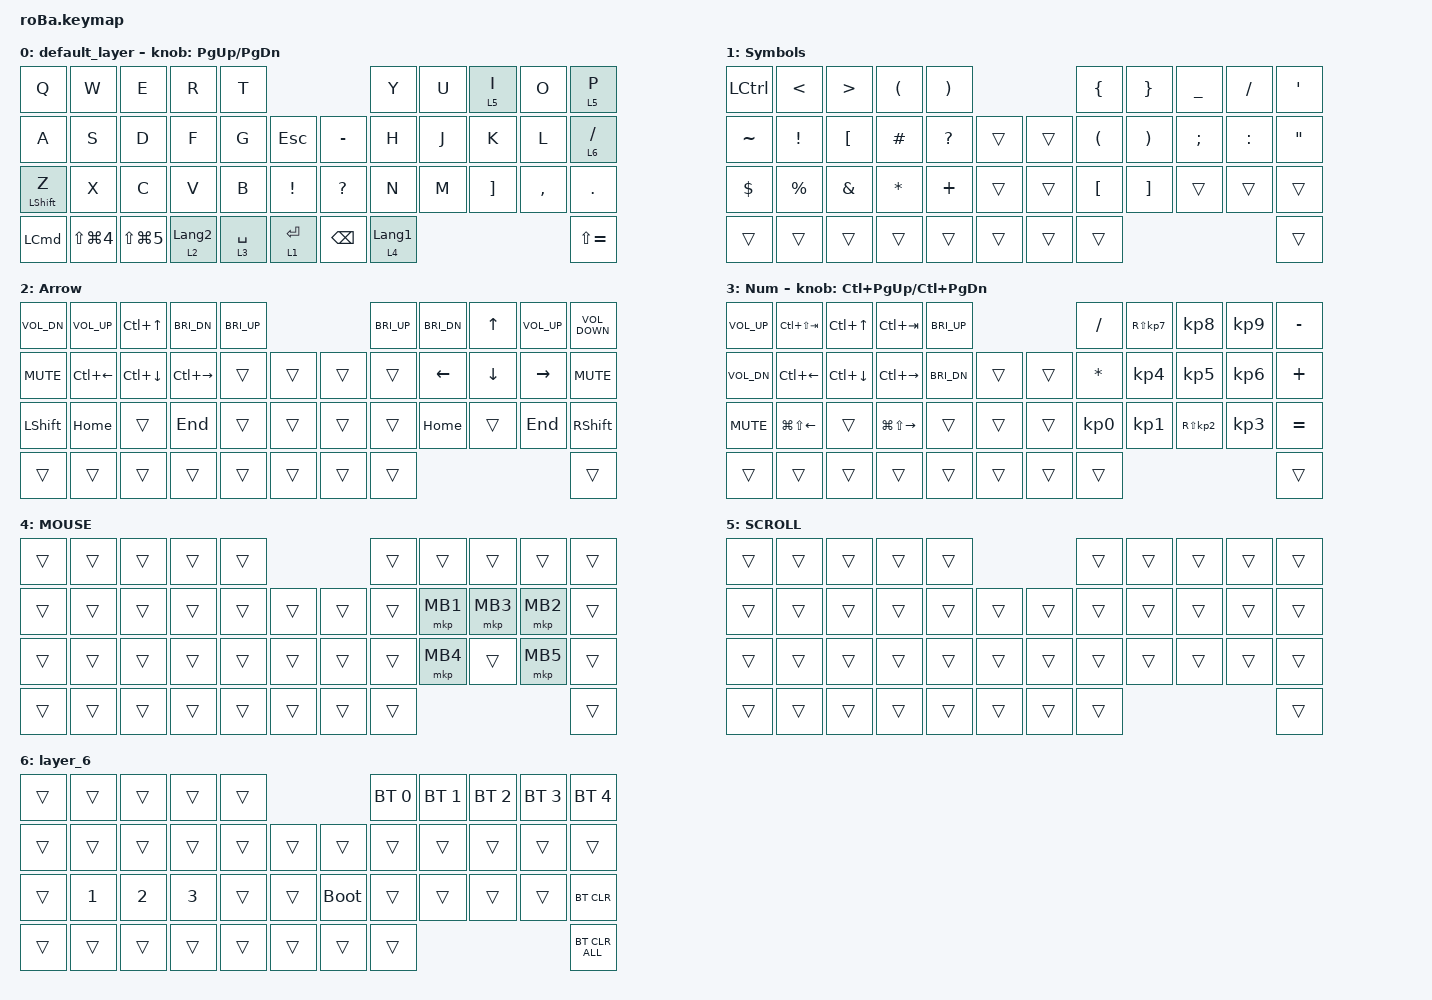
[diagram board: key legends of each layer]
#include <behaviors.dtsi>
#include <dt-bindings/zmk/bt.h>
#include <dt-bindings/zmk/keys.h>
#include <dt-bindings/zmk/pointing.h>

&mt {
    flavor = "balanced";
    quick-tap-ms = <0>;
};

&trackball {
    automouse-layer = <4>;
    scroll-layers = <5>;

    // arrows {
    //     layers = <3>;
    //     bindings =
    //         <&kp RIGHT_ARROW>,
    //         <&kp LEFT_ARROW>,
    //         <&kp UP_ARROW>,
    //         <&kp DOWN_ARROW>;
    //     tick = <10>;
    //     wait-ms = <5>;
    //     tap-ms = <5>;
    // };
};

/ {
    combos {
        compatible = "zmk,combos";

        tab {
            bindings = <&kp TAB>;
            key-positions = <11 12>;
        };

        shift_tab {
            bindings = <&kp LS(TAB)>;
            key-positions = <12 13>;
        };

        muhennkann {
            bindings = <&to_layer_0 INT_MUHENKAN>;
            key-positions = <11 10>;
        };

        double_quotation {
            bindings = <&kp DOUBLE_QUOTES>;
            key-positions = <20 21>;
        };

        eq {
            bindings = <&kp EQUAL>;
            key-positions = <24 25>;
        };
    };

    macros {
        to_layer_0: to_layer_0 {
            compatible = "zmk,behavior-macro-one-param";
            #binding-cells = <1>;
            bindings = <&to 0 &macro_param_1to1 &kp MACRO_PLACEHOLDER>;
            label = "TO_LAYER_0";
        };
    };

    behaviors {
        lt_to_layer_0: lt_to_layer_0 {
            compatible = "zmk,behavior-hold-tap";
            label = "LAYER_TAP_TO_0";
            bindings = <&mo>, <&to_layer_0>;

            #binding-cells = <2>;
            tapping-term-ms = <200>;
        };
    };

    keymap {
        compatible = "zmk,keymap";

        default_layer {
            bindings = <
&kp Q             &kp W                 &kp E           &kp R                        &kp T                                                   &kp Y             &kp U  &lt 5 I            &kp O      &lt 5 P
&kp A             &kp S                 &kp D           &kp F                        &kp G        &kp ESC                     &kp MINUS      &kp H             &kp J  &kp K              &kp L      &lt 6 SLASH
&mt LEFT_SHIFT Z  &kp X                 &kp C           &kp V                        &kp B        &kp EXCLAMATION             &kp QUESTION   &kp N             &kp M  &kp RIGHT_BRACKET  &kp COMMA  &kp PERIOD
&kp LEFT_COMMAND  &kp LS(LG(NUMBER_4))  &kp LS(LG(N5))  &lt_to_layer_0 2 LANGUAGE_2  &lt 3 SPACE  &lt_to_layer_0 1 ENTER      &kp BACKSPACE  &lt 4 LANGUAGE_1                                       &kp LS(EQUAL)
            >;

            sensor-bindings = <&inc_dec_kp PG_UP PAGE_DOWN>;
        };

        Symbols {
            bindings = <
&kp LCTRL   &kp LESS_THAN    &kp GREATER_THAN  &kp LPAR      &kp RIGHT_PARENTHESIS                      &kp LEFT_BRACE        &kp RIGHT_BRACE        &kp UNDERSCORE  &kp SLASH  &kp SQT
&kp TILDE   &kp EXCLAMATION  &kp LEFT_BRACKET  &kp HASH      &kp QUESTION           &trans      &trans  &kp LEFT_PARENTHESIS  &kp RIGHT_PARENTHESIS  &kp SEMICOLON   &kp COLON  &kp DOUBLE_QUOTES
&kp DOLLAR  &kp PERCENT      &kp AMPERSAND     &kp ASTERISK  &kp PLUS               &trans      &trans  &kp LEFT_BRACKET      &kp RIGHT_BRACKET      &trans          &trans     &trans
&trans      &trans           &trans            &trans        &trans                 &trans      &trans  &trans                                                                  &trans
            >;
        };

        Arrow {
            bindings = <
&kp C_VOL_DN    &kp C_VOL_UP        &kp LC(UP_ARROW)    &kp C_BRI_DN         &kp C_BRI_UP                      &kp C_BRI_UP  &kp C_BRI_DN    &kp UP_ARROW    &kp C_VOLUME_UP  &kp C_VOLUME_DOWN
&kp K_MUTE      &kp LC(LEFT_ARROW)  &kp LC(DOWN_ARROW)  &kp LC(RIGHT_ARROW)  &trans        &trans      &trans  &trans        &kp LEFT_ARROW  &kp DOWN_ARROW  &kp RIGHT_ARROW  &kp K_MUTE
&kp LEFT_SHIFT  &kp HOME            &trans              &kp END              &trans        &trans      &trans  &trans        &kp HOME        &trans          &kp END          &kp RIGHT_SHIFT
&trans          &trans              &trans              &trans               &trans        &trans      &trans  &trans                                                         &trans
            >;
        };

        Num {
            bindings = <
&kp C_VOL_UP  &kp LC(LS(TAB))         &kp LC(UP_ARROW)    &kp LC(TAB)              &kp C_BRI_UP                      &kp SLASH        &kp RS(KP_NUMBER_7)  &kp KP_NUMBER_8      &kp KP_NUMBER_9  &kp MINUS
&kp C_VOL_DN  &kp LC(LEFT_ARROW)      &kp LC(DOWN_ARROW)  &kp LC(RIGHT_ARROW)      &kp C_BRI_DN  &trans      &trans  &kp ASTERISK     &kp KP_NUMBER_4      &kp KP_NUMBER_5      &kp KP_NUMBER_6  &kp PLUS
&kp K_MUTE    &kp LG(LS(LEFT_ARROW))  &trans              &kp LG(LS(RIGHT_ARROW))  &trans        &trans      &trans  &kp KP_NUMBER_0  &kp KP_NUMBER_1      &kp RS(KP_NUMBER_2)  &kp KP_NUMBER_3  &kp EQUAL
&trans        &trans                  &trans              &trans                   &trans        &trans      &trans  &trans                                                                      &trans
            >;

            sensor-bindings = <&inc_dec_kp LC(PAGE_UP) LC(PAGE_DOWN)>;
        };

        MOUSE {
            bindings = <
&trans  &trans  &trans  &trans  &trans                      &trans  &trans    &trans    &trans    &trans
&trans  &trans  &trans  &trans  &trans  &trans      &trans  &trans  &mkp MB1  &mkp MB3  &mkp MB2  &trans
&trans  &trans  &trans  &trans  &trans  &trans      &trans  &trans  &mkp MB4  &trans    &mkp MB5  &trans
&trans  &trans  &trans  &trans  &trans  &trans      &trans  &trans                                &trans
            >;
        };

        SCROLL {
            bindings = <
&trans  &trans  &trans  &trans  &trans                      &trans  &trans  &trans  &trans  &trans
&trans  &trans  &trans  &trans  &trans  &trans      &trans  &trans  &trans  &trans  &trans  &trans
&trans  &trans  &trans  &trans  &trans  &trans      &trans  &trans  &trans  &trans  &trans  &trans
&trans  &trans  &trans  &trans  &trans  &trans      &trans  &trans                          &trans
            >;
        };

        layer_6 {
            bindings = <
&trans  &trans        &trans        &trans        &trans                           &bt BT_SEL 0  &bt BT_SEL 1  &bt BT_SEL 2  &bt BT_SEL 3  &bt BT_SEL 4
&trans  &trans        &trans        &trans        &trans  &trans      &trans       &trans        &trans        &trans        &trans        &trans
&trans  &kp NUMBER_1  &kp NUMBER_2  &kp NUMBER_3  &trans  &trans      &bootloader  &trans        &trans        &trans        &trans        &bt BT_CLR
&trans  &trans        &trans        &trans        &trans  &trans      &trans       &trans                                                  &bt BT_CLR_ALL
            >;
        };
    };
};
